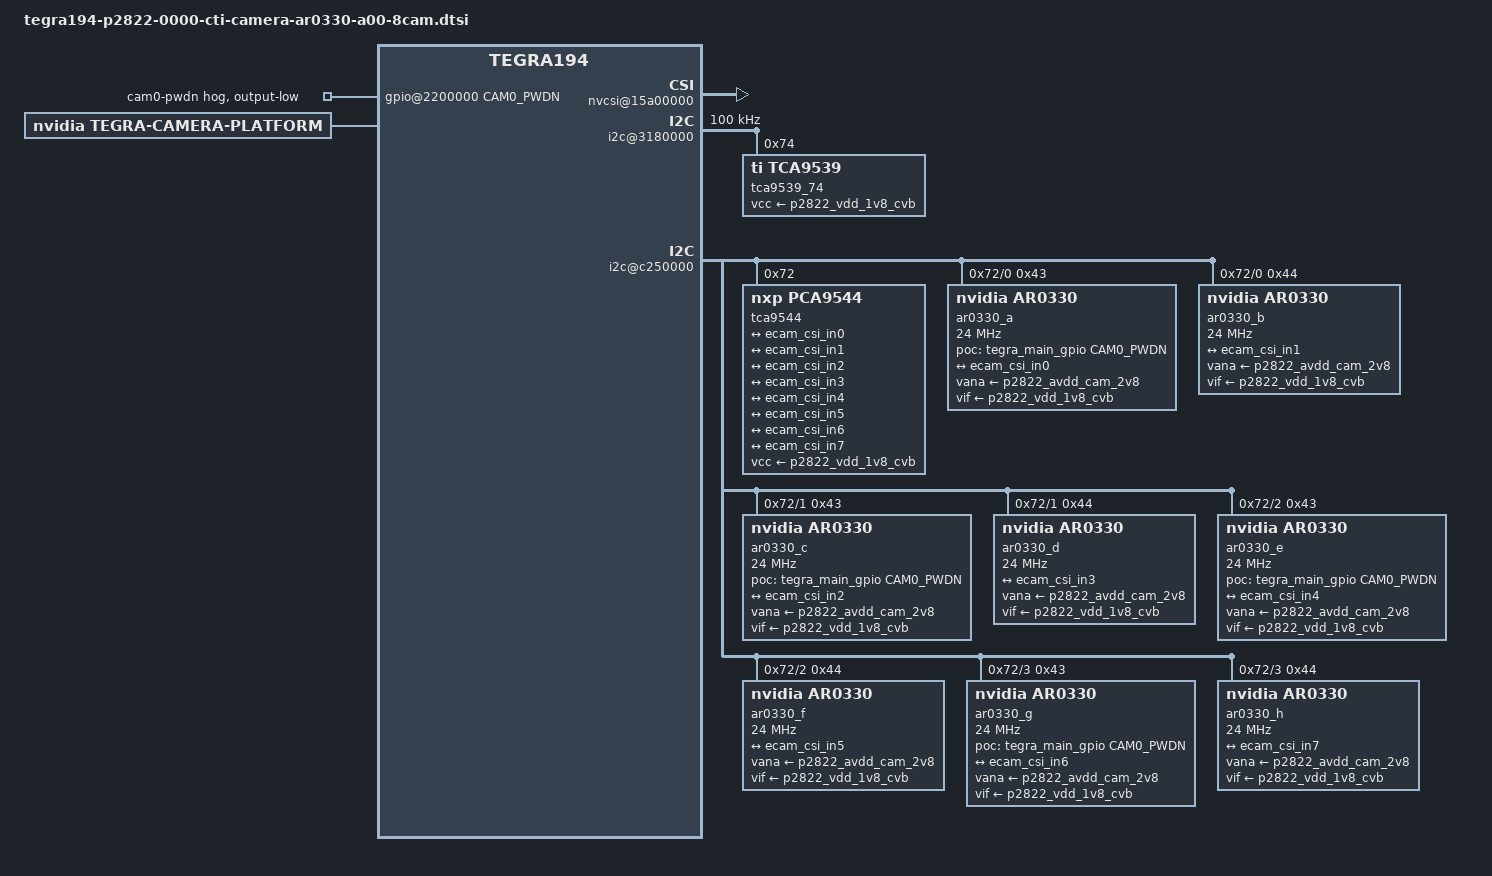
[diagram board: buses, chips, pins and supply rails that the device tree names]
/* Econ device tree for AR1335 support */
#include "dt-bindings/clock/tegra194-clock.h"
#define CAM0_PWDN	TEGRA194_MAIN_GPIO(H, 6)
/ {

	/* set camera gpio direction to output */
	gpio@2200000 {
		camera-control-output-low {
			gpio-hog;
			output-low;
			gpios = <CAM0_PWDN 0>;
			label = "cam0-pwdn";
		};
	};

	/* all cameras are disabled by default */
	host1x {
		vi@15c10000 {
			num-channels = <8>;
			status = "okay";
			ports {
				#address-cells = <1>;
				#size-cells = <0>;
				port@0 {
					reg = <0>;
					status = "okay";
					ecam_vi_in0: endpoint {
						 vc-id = <0>; 									 
						 port-index = <5>;
						 bus-width = <4>;
						 status = "okay";	
						 remote-endpoint = <&ecam_csi_out0>;
					 };
				};
				port@1 {
					reg = <1>;
					status = "okay";	
					ecam_vi_in1: endpoint {
						 vc-id = <1>; 									 
						 port-index = <5>;
						 bus-width = <4>;
						 status = "okay";	
						 remote-endpoint = <&ecam_csi_out1>;
					 };
				};

				port@2 {
					reg = <2>;
					status = "okay";
					ecam_vi_in2: endpoint {
						 vc-id = <0>; 									 
						 port-index = <4>;
						 bus-width = <4>;
						 status = "okay";	
						 remote-endpoint = <&ecam_csi_out2>;
					 };
				};
				port@3 {
					reg = <3>;
					status = "okay";	
					ecam_vi_in3: endpoint {
						 vc-id = <1>; 									 
						 port-index = <4>;
						 bus-width = <4>;
						 status = "okay";	
						 remote-endpoint = <&ecam_csi_out3>;
					 };
				};


				port@4 {
					reg = <4>;
					status = "okay";
					ecam_vi_in4: endpoint {
						 vc-id = <0>; 									 
						 port-index = <2>;
						 bus-width = <4>;
						 status = "okay";	
						 remote-endpoint = <&ecam_csi_out4>;
					 };
				};
				port@5 {
					reg = <5>;
					status = "okay";	
					ecam_vi_in5: endpoint {
						 vc-id = <1>; 									 
						 port-index = <2>;
						 bus-width = <4>;
						 status = "okay";	
						 remote-endpoint = <&ecam_csi_out5>;
					 };
				};


				port@6 {
					reg = <6>;
					status = "okay";
					ecam_vi_in6: endpoint {
						 vc-id = <0>; 									 
						 port-index = <0>;
						 bus-width = <4>;
						 status = "okay";	
						 remote-endpoint = <&ecam_csi_out6>;
					 };
				};
				port@7 {
					reg = <7>;
					status = "okay";	
					ecam_vi_in7: endpoint {
						 vc-id = <1>; 									 
						 port-index = <0>;
						 bus-width = <4>;
						 status = "okay";	
						 remote-endpoint = <&ecam_csi_out7>;
					 };
				};
				
				/*
				port@2 {
					reg = <2>;
					status = "okay";	
					ecam_vi_in2: endpoint {
						 port-index = <2>;
						 bus-width = <2>;
						 status = "okay";	
						 remote-endpoint = <&ecam_csi_out2>;
					 };
				};
				port@3 {
					reg = <3>;
					status = "okay";	
					ecam_vi_in3: endpoint {
						 port-index = <0>;
						 bus-width = <2>;
						 status = "okay";	
						 remote-endpoint = <&ecam_csi_out3>;
					 };
				};
				*/
			};
		};

		nvcsi@15a00000 {
			num-channels = <8>;
			#address-cells = <1>;
			#size-cells = <0>;
			status = "okay";	
			channel@0 {
				reg = <0>;
				status = "okay";	
				ports {
					#address-cells = <1>;
					#size-cells = <0>;
					port@0 {
						reg = <0>;
						status = "okay";	
						ecam_csi_in0: endpoint@0 {
							  port-index = <6>;
							  bus-width = <4>;
							  status = "okay";	
							  remote-endpoint = <&ecam_ar0330_out0>;
						  };
					};
					port@1 {
						reg = <1>;
						status = "okay";	
						ecam_csi_out0: endpoint@1 {
						   remote-endpoint = <&ecam_vi_in0>;
						   status = "okay";	
					   };
					};
				};
			};
			channel@1 {
				reg = <1>;
				status = "okay";	
				ports {
					#address-cells = <1>;
					#size-cells = <0>;
					port@0 {
						reg = <0>;
						status = "okay";	
						ecam_csi_in1: endpoint@2 {
							  port-index = <6>;
							  bus-width = <4>;
							  status = "okay";	
							  remote-endpoint = <&ecam_ar0330_out1>;
						};
					};
					port@1 {
						reg = <1>;
						status = "okay";	
						ecam_csi_out1: endpoint@3 {
							   remote-endpoint = <&ecam_vi_in1>;
							   status = "okay";	
					   };
					};
				};
			};

			channel@2 {
				reg = <2>;
				status = "okay";	
				ports {
					#address-cells = <1>;
					#size-cells = <0>;
					port@0 {
						reg = <0>;
						status = "okay";	
						ecam_csi_in2: endpoint@4 {
							  port-index = <4>;
							  bus-width = <4>;
							  status = "okay";	
							  remote-endpoint = <&ecam_ar0330_out2>;
						  };
					};
					port@1 {
						reg = <1>;
						status = "okay";	
						ecam_csi_out2: endpoint@5 {
						   remote-endpoint = <&ecam_vi_in2>;
						   status = "okay";	
					   };
					};
				};
			};
			channel@3 {
				reg = <3>;
				status = "okay";	
				ports {
					#address-cells = <1>;
					#size-cells = <0>;
					port@0 {
						reg = <0>;
						status = "okay";	
						ecam_csi_in3: endpoint@6 {
							  port-index = <4>;
							  bus-width = <4>;
							  status = "okay";	
							  remote-endpoint = <&ecam_ar0330_out3>;
						};
					};
					port@1 {
						reg = <1>;
						status = "okay";	
						ecam_csi_out3: endpoint@7 {
							   remote-endpoint = <&ecam_vi_in3>;
							   status = "okay";	
					   };
					};
				};
			};

			channel@4 {
				reg = <4>;
				status = "okay";	
				ports {
					#address-cells = <1>;
					#size-cells = <0>;
					port@0 {
						reg = <0>;
						status = "okay";	
						ecam_csi_in4: endpoint@8 {
							  port-index = <2>;
							  bus-width = <4>;
							  status = "okay";	
							  remote-endpoint = <&ecam_ar0330_out4>;
						  };
					};
					port@1 {
						reg = <1>;
						status = "okay";	
						ecam_csi_out4: endpoint@9 {
						   remote-endpoint = <&ecam_vi_in4>;
						   status = "okay";	
					   };
					};
				};
			};
			channel@5 {
				reg = <5>;
				status = "okay";	
				ports {
					#address-cells = <1>;
					#size-cells = <0>;
					port@0 {
						reg = <0>;
						status = "okay";	
						ecam_csi_in5: endpoint@10 {
							  port-index = <2>;
							  bus-width = <4>;
							  status = "okay";	
							  remote-endpoint = <&ecam_ar0330_out5>;
						};
					};
					port@1 {
						reg = <1>;
						status = "okay";	
						ecam_csi_out5: endpoint@11 {
							   remote-endpoint = <&ecam_vi_in5>;
							   status = "okay";	
					   };
					};
				};
			};

			channel@6 {
				reg = <6>;
				status = "okay";	
				ports {
					#address-cells = <1>;
					#size-cells = <0>;
					port@0 {
						reg = <0>;
						status = "okay";	
						ecam_csi_in6: endpoint@12 {
							  port-index = <0>;
							  bus-width = <4>;
							  status = "okay";	
							  remote-endpoint = <&ecam_ar0330_out6>;
						  };
					};
					port@1 {
						reg = <1>;
						status = "okay";	
						ecam_csi_out6: endpoint@13 {
						   remote-endpoint = <&ecam_vi_in6>;
						   status = "okay";	
					   };
					};
				};
			};
			channel@7 {
				reg = <7>;
				status = "okay";	
				ports {
					#address-cells = <1>;
					#size-cells = <0>;
					port@0 {
						reg = <0>;
						status = "okay";	
						ecam_csi_in7: endpoint@14 {
							  port-index = <0>;
							  bus-width = <4>;
							  status = "okay";	
							  remote-endpoint = <&ecam_ar0330_out7>;
						};
					};
					port@1 {
						reg = <1>;
						status = "okay";	
						ecam_csi_out7: endpoint@15 {
							   remote-endpoint = <&ecam_vi_in7>;
							   status = "okay";	
					   };
					};
				};
			};			

		};
	};
	i2c@3180000 {
		clock-frequency = <100000>;
		tca9539_74: tca9539@74 {
			compatible = "ti,tca9539";
			gpio-controller;
			#gpio-cells = <2>;
			reg = <0x74>;
            vcc-supply = <&p2822_vdd_1v8_cvb>;
			status = "okay";
			tca9539_74_outlow {
				/*
				 * GPIO-0  : RST_CAMA
				 * GPIO-1  : BOOT_CAMA
				 * GPIO-2  : RST_CAMB
				 * GPIO-3  : BOOT_CAMB
				 * GPIO-4  : RST_CAMC
				 * GPIO-5  : BOOT_CAMC
				 * GPIO-6  : RST_CAMD
				 * GPIO-7  : BOOT_CAMD
				 */
				gpio-hog;
				gpios = <0 0 1 0 2 0 3 0 4 0 5 0 6 0 7 0 8 0 9 0 10 0 11 0 12 0 13 0>;
				output-low;
				label = "tca9539_74_outlow_0",
					"tca9539_74_outlow_1",
					"tca9539_74_outlow_2",
					"tca9539_74_outlow_3",
					"tca9539_74_outlow_4",
					"tca9539_74_outlow_5",
					"tca9539_74_outlow_6",
					"tca9539_74_outlow_7",
					"tca9539_74_outlow_8",
					"tca9539_74_outlow_9",
					"tca9539_74_outlow_10",
					"tca9539_74_outlow_11",
					"tca9539_74_outlow_12",
					"tca9539_74_outlow_13";
			};
			tca9539_74_outhigh {
				status= "disabled";
			};
			tca9539_74_input {
				status = "disabled";
			};
		};
	};

	i2c@c250000 {
		status = "okay";
		#address-cells = <1>;
		#size-cells = <0>;
		tca9544@72 {
            compatible = "nxp,pca9544";
            reg = <0x72>;
            #address-cells = <1>;
            #size-cells = <0>;
            vcc-supply = <&p2822_vdd_1v8_cvb>;
            skip_mux_detect;
            force_bus_start = <0x1e>;
			i2c@0 {
	            reg = <0>;
    	   	    i2c-mux,deselect-on-exit;
        	    #address-cells = <1>;
             	#size-cells = <0>;
	            status = "okay";

				ar0330_a@43 {
					status = "okay";
					compatible = "nvidia,ar0330";
					reg = <0x43>;
					sensor_model ="ar0330";
					avdd-reg = "vana";
					iovdd-reg = "vif";
					clocks = <&bpmp_clks  TEGRA194_CLK_EXTPERIPH1>,
							 <&bpmp_clks TEGRA194_CLK_PLLP_OUT0>;
					clock-names = "extperiph1", "pllp_grtba";
					mclk = "extperiph1";
					clock-frequency = <24000000>;
					/* This GPIO needs to be toggled only once for the entire setup */
					poc-gpio = <&tegra_main_gpio CAM0_PWDN GPIO_ACTIVE_HIGH>;
					vana-supply = <&p2822_avdd_cam_2v8>;
					vif-supply = <&p2822_vdd_1v8_cvb>;
					use_sensor_mode_id = "false";
					camera_mipi_lanes = <2>;	

					/* Parameter to denote PHY layer */
					phy-id = "A";					
					mode0 {		// MODE_640X480
						mclk_khz = "24000";
						num_lanes = "2";
						tegra_sinterface = "serial_a";
						phy_mode = "DPHY";
						discontinuous_clk = "no";
						dpcm_enable = "false";
						cil_settletime = "0";
						dynamic_pixel_bit_depth = "16";
						csi_pixel_bit_depth = "16";
						mode_type = "yuv";
						pixel_phase = "uyvy";
						pixel_t = "uyvy";

						active_w = "1280";
						active_h = "720";
						readout_orientation = "0";
						deskew_initial_enable = "false";
						pix_clk_hz = "1152000000";
						/* Below mode parameter not used for econ UYVY camera sensor */ 
						line_length = "3840";
						inherent_gain = "1";
						mclk_multiplier = "6.67";

						min_gain_val = "0"; /* dB */
						max_gain_val = "48"; /* dB */
						min_hdr_ratio = "1";
						max_hdr_ratio = "1";
						min_framerate = "1.5";
						max_framerate = "30";
						min_exp_time = "30";
						max_exp_time = "660000";
					};
					mode1 {		// MODE_1280X720
						mclk_khz = "24000";
						num_lanes = "2";
						tegra_sinterface = "serial_a";
						phy_mode = "DPHY";
						discontinuous_clk = "no";
						dpcm_enable = "false";
						cil_settletime = "0";
						dynamic_pixel_bit_depth = "16";
						csi_pixel_bit_depth = "16";
						mode_type = "yuv";
						pixel_phase = "uyvy";
						pixel_t = "uyvy";

						active_w = "1280";
						active_h = "720";
						readout_orientation = "0";
						deskew_initial_enable = "false";
						pix_clk_hz = "1152000000";
						/* Below mode parameter not used for econ UYVY camera sensor */ 
						line_length = "3840";
						inherent_gain = "1";
						mclk_multiplier = "6.67";

						min_gain_val = "0"; /* dB */
						max_gain_val = "48"; /* dB */
						min_hdr_ratio = "1";
						max_hdr_ratio = "1";
						min_framerate = "1.5";
						max_framerate = "30";
						min_exp_time = "30";
						max_exp_time = "660000";
					};
					mode2 {		// MODE_1920X1080
						mclk_khz = "24000";
						num_lanes = "2";
						tegra_sinterface = "serial_a";
						phy_mode = "DPHY";
						discontinuous_clk = "no";
						dpcm_enable = "false";
						cil_settletime = "0";
						dynamic_pixel_bit_depth = "16";
						csi_pixel_bit_depth = "16";
						mode_type = "yuv";
						pixel_phase = "uyvy";
						pixel_t = "uyvy";

						active_w = "1920";
						active_h = "1080";
						readout_orientation = "0";
						deskew_initial_enable = "false";
						pix_clk_hz = "1152000000";
						/* Below mode parameter not used for econ UYVY camera sensor */ 
						line_length = "3840";
						inherent_gain = "1";
						mclk_multiplier = "6.67";

						min_gain_val = "0"; /* dB */
						max_gain_val = "48"; /* dB */
						min_hdr_ratio = "1";
						max_hdr_ratio = "1";
						min_framerate = "1.5";
						max_framerate = "30";
						min_exp_time = "30";
						max_exp_time = "660000";
					};
					mode3 {		// MODE_2304X1296
						mclk_khz = "24000";
						num_lanes = "2";
						tegra_sinterface = "serial_a";
						phy_mode = "DPHY";
						discontinuous_clk = "no";
						dpcm_enable = "false";
						cil_settletime = "0";
						dynamic_pixel_bit_depth = "16";
						csi_pixel_bit_depth = "16";
						mode_type = "yuv";
						pixel_phase = "uyvy";
						pixel_t = "uyvy";

						active_w = "2304";
						active_h = "1296";
						readout_orientation = "0";
						deskew_initial_enable = "false";
						pix_clk_hz = "1152000000";
						/* Below mode parameter not used for econ UYVY camera sensor */ 
						line_length = "3840";
						inherent_gain = "1";
						mclk_multiplier = "6.67";

						min_gain_val = "0"; /* dB */
						max_gain_val = "48"; /* dB */
						min_hdr_ratio = "1";
						max_hdr_ratio = "1";
						min_framerate = "1.5";
						max_framerate = "30";
						min_exp_time = "30";
						max_exp_time = "660000";
					};
					mode4 {		// MODE_2304X1536
						mclk_khz = "24000";
						num_lanes = "2";
						tegra_sinterface = "serial_a";
						phy_mode = "DPHY";
						discontinuous_clk = "no";
						dpcm_enable = "false";
						cil_settletime = "0";
						dynamic_pixel_bit_depth = "16";
						csi_pixel_bit_depth = "16";
						mode_type = "yuv";
						pixel_phase = "uyvy";
						pixel_t = "uyvy";

						active_w = "2304";
						active_h = "1536";
						readout_orientation = "0";
						deskew_initial_enable = "false";
						pix_clk_hz = "1152000000";
						/* Below mode parameter not used for econ UYVY camera sensor */ 
						line_length = "3840";
						inherent_gain = "1";
						mclk_multiplier = "6.67";

						min_gain_val = "0"; /* dB */
						max_gain_val = "48"; /* dB */
						min_hdr_ratio = "1";
						max_hdr_ratio = "1";
						min_framerate = "1.5";
						max_framerate = "30";
						min_exp_time = "30";
						max_exp_time = "660000";
					};
					ports {
						#address-cells = <1>;
						#size-cells = <0>;
						port@0 {
							reg = <0>;
							ecam_ar0330_out0: endpoint {
								vc-id = <0>;		 
								port-index = <6>;
								bus-width = <4>;
								remote-endpoint = <&ecam_csi_in0>;
							};
						};
					};
				};

               ar0330_b@44 {
                        status = "okay";
                        compatible = "nvidia,ar0330";
                        reg = <0x44>;
                        sensor_model ="ar0330";
                        avdd-reg = "vana";
                        iovdd-reg = "vif";
						clocks = <&bpmp_clks  TEGRA194_CLK_EXTPERIPH1>,
				 		<&bpmp_clks TEGRA194_CLK_PLLP_OUT0>;
                        clock-names = "extperiph1", "pllp_grtba";
                        mclk = "extperiph1";
                        clock-frequency = <24000000>;
						vana-supply = <&p2822_avdd_cam_2v8>;
						vif-supply = <&p2822_vdd_1v8_cvb>;
						use_sensor_mode_id = "false";
						camera_mipi_lanes = <2>;	

					/* Parameter to enable i2c translation */
					phy-id = "B";						
					mode0 {     //MODE_640X480
     					mclk_khz = "24000";
     					num_lanes = "2";
     					tegra_sinterface = "serial_b";
     					phy_mode = "DPHY";
     					discontinuous_clk = "no";
     					dpcm_enable = "false";
     					cil_settletime = "0";
     					dynamic_pixel_bit_depth = "16";
     					csi_pixel_bit_depth = "16";
     					mode_type = "yuv";
     					pixel_phase = "uyvy";
     					pixel_t = "uyvy";
     
     					active_w = "640";
     					active_h = "480";
     					readout_orientation = "0";
     					pix_clk_hz = "1152000000";
     					deskew_initial_enable = "false";
     					/* Below mode parameter not used in for econ UYVY camera sensor */ 
     					line_length = "3840";
     					inherent_gain = "1";
     					mclk_multiplier = "6.67";
     
     					min_gain_val = "0"; /* dB */
     					max_gain_val = "48"; /* dB */
     					min_hdr_ratio = "1";
     					max_hdr_ratio = "1";
     					min_framerate = "1.5";
     					max_framerate = "30";
     					min_exp_time = "30";
     					max_exp_time = "660000";
				    };
				mode1 {     //MODE_1280X720
					mclk_khz = "24000";
					num_lanes = "2";
					tegra_sinterface = "serial_b";
					phy_mode = "DPHY";
					discontinuous_clk = "no";
					dpcm_enable = "false";
					cil_settletime = "0";
					dynamic_pixel_bit_depth = "16";
					csi_pixel_bit_depth = "16";
					mode_type = "yuv";
					pixel_phase = "uyvy";
					pixel_t = "uyvy";

					active_w = "1280";
					active_h = "720";
					readout_orientation = "0";
					pix_clk_hz = "1152000000";
					deskew_initial_enable = "false";
					/* Below mode parameter not used in for econ UYVY camera sensor */ 
					line_length = "3840";
					inherent_gain = "1";
					mclk_multiplier = "6.67";

					min_gain_val = "0"; /* dB */
					max_gain_val = "48"; /* dB */
					min_hdr_ratio = "1";
					max_hdr_ratio = "1";
					min_framerate = "1.5";
					max_framerate = "30";
					min_exp_time = "30";
					max_exp_time = "660000";
				};
				mode2 {     //MODE_1920X1080
					mclk_khz = "24000";
					num_lanes = "2";
					tegra_sinterface = "serial_b";
					phy_mode = "DPHY";
					discontinuous_clk = "no";
					dpcm_enable = "false";
					cil_settletime = "0";
					dynamic_pixel_bit_depth = "16";
					csi_pixel_bit_depth = "16";
					mode_type = "yuv";
					pixel_phase = "uyvy";
					pixel_t = "uyvy";

					active_w = "1920";
					active_h = "1080";
					readout_orientation = "0";
					pix_clk_hz = "1152000000";
					deskew_initial_enable = "false";
					/* Below mode parameter not used in for econ UYVY camera sensor */ 
					line_length = "3840";
					inherent_gain = "1";
					mclk_multiplier = "6.67";

					min_gain_val = "0"; /* dB */
					max_gain_val = "48"; /* dB */
					min_hdr_ratio = "1";
					max_hdr_ratio = "1";
					min_framerate = "1.5";
					max_framerate = "30";
					min_exp_time = "30";
					max_exp_time = "660000";
				};
				mode3 {     //MODE_2304X1296
					mclk_khz = "24000";
					num_lanes = "2";
					tegra_sinterface = "serial_b";
					phy_mode = "DPHY";
					discontinuous_clk = "no";
					dpcm_enable = "false";
					cil_settletime = "0";
					dynamic_pixel_bit_depth = "16";
					csi_pixel_bit_depth = "16";
					mode_type = "yuv";
					pixel_phase = "uyvy";
					pixel_t = "uyvy";

					active_w = "2304";
					active_h = "1296";
					readout_orientation = "0";
					pix_clk_hz = "1152000000";
					deskew_initial_enable = "false";
					/* Below mode parameter not used in for econ UYVY camera sensor */ 
					line_length = "3840";
					inherent_gain = "1";
					mclk_multiplier = "6.67";

					min_gain_val = "0"; /* dB */
					max_gain_val = "48"; /* dB */
					min_hdr_ratio = "1";
					max_hdr_ratio = "1";
					min_framerate = "1.5";
					max_framerate = "30";
					min_exp_time = "30";
					max_exp_time = "660000";
				};
				mode4 {     //MODE_2304X1536
					mclk_khz = "24000";
					num_lanes = "2";
					tegra_sinterface = "serial_b";
					phy_mode = "DPHY";
					discontinuous_clk = "no";
					dpcm_enable = "false";
					cil_settletime = "0";
					dynamic_pixel_bit_depth = "16";
					csi_pixel_bit_depth = "16";
					mode_type = "yuv";
					pixel_phase = "uyvy";
					pixel_t = "uyvy";

					active_w = "2304";
					active_h = "1536";
					pix_clk_hz = "1152000000";
                                                readout_orientation = "0";
					deskew_initial_enable = "false";
					/* Below mode parameter not used in for econ UYVY camera sensor */ 
					line_length = "3840";
					inherent_gain = "1";
					mclk_multiplier = "6.67";

					min_gain_val = "0"; /* dB */
					max_gain_val = "48"; /* dB */
					min_hdr_ratio = "1";
					max_hdr_ratio = "1";
					min_framerate = "1.5";
					max_framerate = "30";
					min_exp_time = "30";
					max_exp_time = "660000";
				};

               		ports {
   	    	               #address-cells = <1>;
    	                   #size-cells = <0>;
            	           port@0 {
                               reg = <0>;
                               ecam_ar0330_out1: endpoint {
							   vc-id = <1>;		 
                                       port-index = <6>;
                                       bus-width = <4>;
                                       remote-endpoint = <&ecam_csi_in1>;
                               };
                    	   };
              		 	};
       				};				
			};

            i2c@1{
                    status = "okay";
                    reg = <1>;
                    i2c-mux,deselect-on-exit;
                    #address-cells = <1>;
                    #size-cells = <0>;
				ar0330_c@43 {
					status = "okay";
					compatible = "nvidia,ar0330";
					reg = <0x43>;
					sensor_model ="ar0330";
					avdd-reg = "vana";
					iovdd-reg = "vif";
					clocks = <&bpmp_clks  TEGRA194_CLK_EXTPERIPH1>,
							 <&bpmp_clks TEGRA194_CLK_PLLP_OUT0>;
					clock-names = "extperiph1", "pllp_grtba";
					mclk = "extperiph1";
					clock-frequency = <24000000>;
					/* This GPIO needs to be toggled only once for the entire setup */
					poc-gpio = <&tegra_main_gpio CAM0_PWDN GPIO_ACTIVE_HIGH>;
					vana-supply = <&p2822_avdd_cam_2v8>;
					vif-supply = <&p2822_vdd_1v8_cvb>;
					use_sensor_mode_id = "false";
					camera_mipi_lanes = <2>;	

					/* Parameter to denote PHY layer */
					phy-id = "A";					
					mode0 {		// MODE_640X480
						mclk_khz = "24000";
						num_lanes = "2";
						tegra_sinterface = "serial_a";
						phy_mode = "DPHY";
						discontinuous_clk = "no";
						dpcm_enable = "false";
						cil_settletime = "0";
						dynamic_pixel_bit_depth = "16";
						csi_pixel_bit_depth = "16";
						mode_type = "yuv";
						pixel_phase = "uyvy";
						pixel_t = "uyvy";

						active_w = "1280";
						active_h = "720";
						readout_orientation = "0";
						deskew_initial_enable = "false";
						pix_clk_hz = "1152000000";
						/* Below mode parameter not used for econ UYVY camera sensor */ 
						line_length = "3840";
						inherent_gain = "1";
						mclk_multiplier = "6.67";

						min_gain_val = "0"; /* dB */
						max_gain_val = "48"; /* dB */
						min_hdr_ratio = "1";
						max_hdr_ratio = "1";
						min_framerate = "1.5";
						max_framerate = "30";
						min_exp_time = "30";
						max_exp_time = "660000";
					};
					mode1 {		// MODE_1280X720
						mclk_khz = "24000";
						num_lanes = "2";
						tegra_sinterface = "serial_a";
						phy_mode = "DPHY";
						discontinuous_clk = "no";
						dpcm_enable = "false";
						cil_settletime = "0";
						dynamic_pixel_bit_depth = "16";
						csi_pixel_bit_depth = "16";
						mode_type = "yuv";
						pixel_phase = "uyvy";
						pixel_t = "uyvy";

						active_w = "1280";
						active_h = "720";
						readout_orientation = "0";
						deskew_initial_enable = "false";
						pix_clk_hz = "1152000000";
						/* Below mode parameter not used for econ UYVY camera sensor */ 
						line_length = "3840";
						inherent_gain = "1";
						mclk_multiplier = "6.67";

						min_gain_val = "0"; /* dB */
						max_gain_val = "48"; /* dB */
						min_hdr_ratio = "1";
						max_hdr_ratio = "1";
						min_framerate = "1.5";
						max_framerate = "30";
						min_exp_time = "30";
						max_exp_time = "660000";
					};
					mode2 {		// MODE_1920X1080
						mclk_khz = "24000";
						num_lanes = "2";
						tegra_sinterface = "serial_a";
						phy_mode = "DPHY";
						discontinuous_clk = "no";
						dpcm_enable = "false";
						cil_settletime = "0";
						dynamic_pixel_bit_depth = "16";
						csi_pixel_bit_depth = "16";
						mode_type = "yuv";
						pixel_phase = "uyvy";
						pixel_t = "uyvy";

						active_w = "1920";
						active_h = "1080";
						readout_orientation = "0";
						deskew_initial_enable = "false";
						pix_clk_hz = "1152000000";
						/* Below mode parameter not used for econ UYVY camera sensor */ 
						line_length = "3840";
						inherent_gain = "1";
						mclk_multiplier = "6.67";

						min_gain_val = "0"; /* dB */
						max_gain_val = "48"; /* dB */
						min_hdr_ratio = "1";
						max_hdr_ratio = "1";
						min_framerate = "1.5";
						max_framerate = "30";
						min_exp_time = "30";
						max_exp_time = "660000";
					};
					mode3 {		// MODE_2304X1296
						mclk_khz = "24000";
						num_lanes = "2";
						tegra_sinterface = "serial_a";
						phy_mode = "DPHY";
						discontinuous_clk = "no";
						dpcm_enable = "false";
						cil_settletime = "0";
						dynamic_pixel_bit_depth = "16";
						csi_pixel_bit_depth = "16";
						mode_type = "yuv";
						pixel_phase = "uyvy";
						pixel_t = "uyvy";

						active_w = "2304";
						active_h = "1296";
						readout_orientation = "0";
						deskew_initial_enable = "false";
						pix_clk_hz = "1152000000";
						/* Below mode parameter not used for econ UYVY camera sensor */ 
						line_length = "3840";
						inherent_gain = "1";
						mclk_multiplier = "6.67";

						min_gain_val = "0"; /* dB */
						max_gain_val = "48"; /* dB */
						min_hdr_ratio = "1";
						max_hdr_ratio = "1";
						min_framerate = "1.5";
						max_framerate = "30";
						min_exp_time = "30";
						max_exp_time = "660000";
					};
					mode4 {		// MODE_2304X1536
						mclk_khz = "24000";
						num_lanes = "2";
						tegra_sinterface = "serial_a";
						phy_mode = "DPHY";
						discontinuous_clk = "no";
						dpcm_enable = "false";
						cil_settletime = "0";
						dynamic_pixel_bit_depth = "16";
						csi_pixel_bit_depth = "16";
						mode_type = "yuv";
						pixel_phase = "uyvy";
						pixel_t = "uyvy";

						active_w = "2304";
						active_h = "1536";
						readout_orientation = "0";
						deskew_initial_enable = "false";
						pix_clk_hz = "1152000000";
						/* Below mode parameter not used for econ UYVY camera sensor */ 
						line_length = "3840";
						inherent_gain = "1";
						mclk_multiplier = "6.67";

						min_gain_val = "0"; /* dB */
						max_gain_val = "48"; /* dB */
						min_hdr_ratio = "1";
						max_hdr_ratio = "1";
						min_framerate = "1.5";
						max_framerate = "30";
						min_exp_time = "30";
						max_exp_time = "660000";
					};
					ports {
						#address-cells = <1>;
						#size-cells = <0>;
						port@0 {
							reg = <0>;
							ecam_ar0330_out2: endpoint {
								vc-id = <0>;		 
								port-index = <4>;
								bus-width = <4>;
								remote-endpoint = <&ecam_csi_in2>;
							};
						};
					};
				};

               ar0330_d@44 {
                        status = "okay";
                        compatible = "nvidia,ar0330";
                        reg = <0x44>;
                        sensor_model ="ar0330";
                        avdd-reg = "vana";
                        iovdd-reg = "vif";
						clocks = <&bpmp_clks  TEGRA194_CLK_EXTPERIPH1>,
				 		<&bpmp_clks TEGRA194_CLK_PLLP_OUT0>;
                        clock-names = "extperiph1", "pllp_grtba";
                        mclk = "extperiph1";
                        clock-frequency = <24000000>;
						vana-supply = <&p2822_avdd_cam_2v8>;
						vif-supply = <&p2822_vdd_1v8_cvb>;
						use_sensor_mode_id = "false";
						camera_mipi_lanes = <2>;	

					/* Parameter to enable i2c translation */
					phy-id = "B";						
					mode0 {     //MODE_640X480
     					mclk_khz = "24000";
     					num_lanes = "2";
     					tegra_sinterface = "serial_b";
     					phy_mode = "DPHY";
     					discontinuous_clk = "no";
     					dpcm_enable = "false";
     					cil_settletime = "0";
     					dynamic_pixel_bit_depth = "16";
     					csi_pixel_bit_depth = "16";
     					mode_type = "yuv";
     					pixel_phase = "uyvy";
     					pixel_t = "uyvy";
     
     					active_w = "640";
     					active_h = "480";
     					readout_orientation = "0";
     					pix_clk_hz = "1152000000";
     					deskew_initial_enable = "false";
     					/* Below mode parameter not used in for econ UYVY camera sensor */ 
     					line_length = "3840";
     					inherent_gain = "1";
     					mclk_multiplier = "6.67";
     
     					min_gain_val = "0"; /* dB */
     					max_gain_val = "48"; /* dB */
     					min_hdr_ratio = "1";
     					max_hdr_ratio = "1";
     					min_framerate = "1.5";
     					max_framerate = "30";
     					min_exp_time = "30";
     					max_exp_time = "660000";
				    };
				mode1 {     //MODE_1280X720
					mclk_khz = "24000";
					num_lanes = "2";
					tegra_sinterface = "serial_b";
					phy_mode = "DPHY";
					discontinuous_clk = "no";
					dpcm_enable = "false";
					cil_settletime = "0";
					dynamic_pixel_bit_depth = "16";
					csi_pixel_bit_depth = "16";
					mode_type = "yuv";
					pixel_phase = "uyvy";
					pixel_t = "uyvy";

					active_w = "1280";
					active_h = "720";
					readout_orientation = "0";
					pix_clk_hz = "1152000000";
					deskew_initial_enable = "false";
					/* Below mode parameter not used in for econ UYVY camera sensor */ 
					line_length = "3840";
					inherent_gain = "1";
					mclk_multiplier = "6.67";

					min_gain_val = "0"; /* dB */
					max_gain_val = "48"; /* dB */
					min_hdr_ratio = "1";
					max_hdr_ratio = "1";
					min_framerate = "1.5";
					max_framerate = "30";
					min_exp_time = "30";
					max_exp_time = "660000";
				};
				mode2 {     //MODE_1920X1080
					mclk_khz = "24000";
					num_lanes = "2";
					tegra_sinterface = "serial_b";
					phy_mode = "DPHY";
					discontinuous_clk = "no";
					dpcm_enable = "false";
					cil_settletime = "0";
					dynamic_pixel_bit_depth = "16";
					csi_pixel_bit_depth = "16";
					mode_type = "yuv";
					pixel_phase = "uyvy";
					pixel_t = "uyvy";

					active_w = "1920";
					active_h = "1080";
					readout_orientation = "0";
					pix_clk_hz = "1152000000";
					deskew_initial_enable = "false";
					/* Below mode parameter not used in for econ UYVY camera sensor */ 
					line_length = "3840";
					inherent_gain = "1";
					mclk_multiplier = "6.67";

					min_gain_val = "0"; /* dB */
					max_gain_val = "48"; /* dB */
					min_hdr_ratio = "1";
					max_hdr_ratio = "1";
					min_framerate = "1.5";
					max_framerate = "30";
					min_exp_time = "30";
					max_exp_time = "660000";
				};
				mode3 {     //MODE_2304X1296
					mclk_khz = "24000";
					num_lanes = "2";
					tegra_sinterface = "serial_b";
					phy_mode = "DPHY";
					discontinuous_clk = "no";
					dpcm_enable = "false";
					cil_settletime = "0";
					dynamic_pixel_bit_depth = "16";
					csi_pixel_bit_depth = "16";
					mode_type = "yuv";
					pixel_phase = "uyvy";
					pixel_t = "uyvy";

					active_w = "2304";
					active_h = "1296";
					readout_orientation = "0";
					pix_clk_hz = "1152000000";
					deskew_initial_enable = "false";
					/* Below mode parameter not used in for econ UYVY camera sensor */ 
					line_length = "3840";
					inherent_gain = "1";
					mclk_multiplier = "6.67";

					min_gain_val = "0"; /* dB */
					max_gain_val = "48"; /* dB */
					min_hdr_ratio = "1";
					max_hdr_ratio = "1";
					min_framerate = "1.5";
					max_framerate = "30";
					min_exp_time = "30";
					max_exp_time = "660000";
				};
				mode4 {     //MODE_2304X1536
					mclk_khz = "24000";
					num_lanes = "2";
					tegra_sinterface = "serial_b";
					phy_mode = "DPHY";
					discontinuous_clk = "no";
					dpcm_enable = "false";
					cil_settletime = "0";
					dynamic_pixel_bit_depth = "16";
					csi_pixel_bit_depth = "16";
					mode_type = "yuv";
					pixel_phase = "uyvy";
					pixel_t = "uyvy";

					active_w = "2304";
					active_h = "1536";
					pix_clk_hz = "1152000000";
                                                readout_orientation = "0";
					deskew_initial_enable = "false";
					/* Below mode parameter not used in for econ UYVY camera sensor */ 
					line_length = "3840";
					inherent_gain = "1";
					mclk_multiplier = "6.67";

					min_gain_val = "0"; /* dB */
					max_gain_val = "48"; /* dB */
					min_hdr_ratio = "1";
					max_hdr_ratio = "1";
					min_framerate = "1.5";
					max_framerate = "30";
					min_exp_time = "30";
					max_exp_time = "660000";
				};

               		ports {
   	    	               #address-cells = <1>;
    	                   #size-cells = <0>;
            	           port@0 {
                               reg = <0>;
                               ecam_ar0330_out3: endpoint {
							   vc-id = <1>;		 
                                       port-index = <4>;
                                       bus-width = <4>;
                                       remote-endpoint = <&ecam_csi_in3>;
                               };
                    	   };
              		 	};
       				};									
          		};

			i2c@2{
                        status = "okay";
                        reg = <2>;
                        i2c-mux,deselect-on-exit;
                        #address-cells = <1>;
                        #size-cells = <0>;
				ar0330_e@43 {
					status = "okay";
					compatible = "nvidia,ar0330";
					reg = <0x43>;
					sensor_model ="ar0330";
					avdd-reg = "vana";
					iovdd-reg = "vif";
					clocks = <&bpmp_clks  TEGRA194_CLK_EXTPERIPH1>,
							 <&bpmp_clks TEGRA194_CLK_PLLP_OUT0>;
					clock-names = "extperiph1", "pllp_grtba";
					mclk = "extperiph1";
					clock-frequency = <24000000>;
					/* This GPIO needs to be toggled only once for the entire setup */
					poc-gpio = <&tegra_main_gpio CAM0_PWDN GPIO_ACTIVE_HIGH>;
					vana-supply = <&p2822_avdd_cam_2v8>;
					vif-supply = <&p2822_vdd_1v8_cvb>;
					use_sensor_mode_id = "false";
					camera_mipi_lanes = <2>;	

					/* Parameter to denote PHY layer */
					phy-id = "A";					
					mode0 {		// MODE_640X480
						mclk_khz = "24000";
						num_lanes = "2";
						tegra_sinterface = "serial_a";
						phy_mode = "DPHY";
						discontinuous_clk = "no";
						dpcm_enable = "false";
						cil_settletime = "0";
						dynamic_pixel_bit_depth = "16";
						csi_pixel_bit_depth = "16";
						mode_type = "yuv";
						pixel_phase = "uyvy";
						pixel_t = "uyvy";

						active_w = "1280";
						active_h = "720";
						readout_orientation = "0";
						deskew_initial_enable = "false";
						pix_clk_hz = "1152000000";
						/* Below mode parameter not used for econ UYVY camera sensor */ 
						line_length = "3840";
						inherent_gain = "1";
						mclk_multiplier = "6.67";

						min_gain_val = "0"; /* dB */
						max_gain_val = "48"; /* dB */
						min_hdr_ratio = "1";
						max_hdr_ratio = "1";
						min_framerate = "1.5";
						max_framerate = "30";
						min_exp_time = "30";
						max_exp_time = "660000";
					};
					mode1 {		// MODE_1280X720
						mclk_khz = "24000";
						num_lanes = "2";
						tegra_sinterface = "serial_a";
						phy_mode = "DPHY";
						discontinuous_clk = "no";
						dpcm_enable = "false";
						cil_settletime = "0";
						dynamic_pixel_bit_depth = "16";
						csi_pixel_bit_depth = "16";
						mode_type = "yuv";
						pixel_phase = "uyvy";
						pixel_t = "uyvy";

						active_w = "1280";
						active_h = "720";
						readout_orientation = "0";
						deskew_initial_enable = "false";
						pix_clk_hz = "1152000000";
						/* Below mode parameter not used for econ UYVY camera sensor */ 
						line_length = "3840";
						inherent_gain = "1";
						mclk_multiplier = "6.67";

						min_gain_val = "0"; /* dB */
						max_gain_val = "48"; /* dB */
						min_hdr_ratio = "1";
						max_hdr_ratio = "1";
						min_framerate = "1.5";
						max_framerate = "30";
						min_exp_time = "30";
						max_exp_time = "660000";
					};
					mode2 {		// MODE_1920X1080
						mclk_khz = "24000";
						num_lanes = "2";
						tegra_sinterface = "serial_a";
						phy_mode = "DPHY";
						discontinuous_clk = "no";
						dpcm_enable = "false";
						cil_settletime = "0";
						dynamic_pixel_bit_depth = "16";
						csi_pixel_bit_depth = "16";
						mode_type = "yuv";
						pixel_phase = "uyvy";
						pixel_t = "uyvy";

						active_w = "1920";
						active_h = "1080";
						readout_orientation = "0";
						deskew_initial_enable = "false";
						pix_clk_hz = "1152000000";
						/* Below mode parameter not used for econ UYVY camera sensor */ 
						line_length = "3840";
						inherent_gain = "1";
						mclk_multiplier = "6.67";

						min_gain_val = "0"; /* dB */
						max_gain_val = "48"; /* dB */
						min_hdr_ratio = "1";
						max_hdr_ratio = "1";
						min_framerate = "1.5";
						max_framerate = "30";
						min_exp_time = "30";
						max_exp_time = "660000";
					};
					mode3 {		// MODE_2304X1296
						mclk_khz = "24000";
						num_lanes = "2";
						tegra_sinterface = "serial_a";
						phy_mode = "DPHY";
						discontinuous_clk = "no";
						dpcm_enable = "false";
						cil_settletime = "0";
						dynamic_pixel_bit_depth = "16";
						csi_pixel_bit_depth = "16";
						mode_type = "yuv";
						pixel_phase = "uyvy";
						pixel_t = "uyvy";

						active_w = "2304";
						active_h = "1296";
						readout_orientation = "0";
						deskew_initial_enable = "false";
						pix_clk_hz = "1152000000";
						/* Below mode parameter not used for econ UYVY camera sensor */ 
						line_length = "3840";
						inherent_gain = "1";
						mclk_multiplier = "6.67";

						min_gain_val = "0"; /* dB */
						max_gain_val = "48"; /* dB */
						min_hdr_ratio = "1";
						max_hdr_ratio = "1";
						min_framerate = "1.5";
						max_framerate = "30";
						min_exp_time = "30";
						max_exp_time = "660000";
					};
					mode4 {		// MODE_2304X1536
						mclk_khz = "24000";
						num_lanes = "2";
						tegra_sinterface = "serial_a";
						phy_mode = "DPHY";
						discontinuous_clk = "no";
						dpcm_enable = "false";
						cil_settletime = "0";
						dynamic_pixel_bit_depth = "16";
						csi_pixel_bit_depth = "16";
						mode_type = "yuv";
						pixel_phase = "uyvy";
						pixel_t = "uyvy";

						active_w = "2304";
						active_h = "1536";
						readout_orientation = "0";
						deskew_initial_enable = "false";
						pix_clk_hz = "1152000000";
						/* Below mode parameter not used for econ UYVY camera sensor */ 
						line_length = "3840";
						inherent_gain = "1";
						mclk_multiplier = "6.67";

						min_gain_val = "0"; /* dB */
						max_gain_val = "48"; /* dB */
						min_hdr_ratio = "1";
						max_hdr_ratio = "1";
						min_framerate = "1.5";
						max_framerate = "30";
						min_exp_time = "30";
						max_exp_time = "660000";
					};
					ports {
						#address-cells = <1>;
						#size-cells = <0>;
						port@0 {
							reg = <0>;
							ecam_ar0330_out4: endpoint {
								vc-id = <0>;		 
								port-index = <2>;
								bus-width = <4>;
								remote-endpoint = <&ecam_csi_in4>;
							};
						};
					};
				};

               ar0330_f@44 {
                        status = "okay";
                        compatible = "nvidia,ar0330";
                        reg = <0x44>;
                        sensor_model ="ar0330";
                        avdd-reg = "vana";
                        iovdd-reg = "vif";
						clocks = <&bpmp_clks  TEGRA194_CLK_EXTPERIPH1>,
				 		<&bpmp_clks TEGRA194_CLK_PLLP_OUT0>;
                        clock-names = "extperiph1", "pllp_grtba";
                        mclk = "extperiph1";
                        clock-frequency = <24000000>;
						vana-supply = <&p2822_avdd_cam_2v8>;
						vif-supply = <&p2822_vdd_1v8_cvb>;
						use_sensor_mode_id = "false";
						camera_mipi_lanes = <2>;	

					/* Parameter to enable i2c translation */
					phy-id = "B";						
					mode0 {     //MODE_640X480
     					mclk_khz = "24000";
     					num_lanes = "2";
     					tegra_sinterface = "serial_b";
     					phy_mode = "DPHY";
     					discontinuous_clk = "no";
     					dpcm_enable = "false";
     					cil_settletime = "0";
     					dynamic_pixel_bit_depth = "16";
     					csi_pixel_bit_depth = "16";
     					mode_type = "yuv";
     					pixel_phase = "uyvy";
     					pixel_t = "uyvy";
     
     					active_w = "640";
     					active_h = "480";
     					readout_orientation = "0";
     					pix_clk_hz = "1152000000";
     					deskew_initial_enable = "false";
     					/* Below mode parameter not used in for econ UYVY camera sensor */ 
     					line_length = "3840";
     					inherent_gain = "1";
     					mclk_multiplier = "6.67";
     
     					min_gain_val = "0"; /* dB */
     					max_gain_val = "48"; /* dB */
     					min_hdr_ratio = "1";
     					max_hdr_ratio = "1";
     					min_framerate = "1.5";
     					max_framerate = "30";
     					min_exp_time = "30";
     					max_exp_time = "660000";
				    };
				mode1 {     //MODE_1280X720
					mclk_khz = "24000";
					num_lanes = "2";
					tegra_sinterface = "serial_b";
					phy_mode = "DPHY";
					discontinuous_clk = "no";
					dpcm_enable = "false";
					cil_settletime = "0";
					dynamic_pixel_bit_depth = "16";
					csi_pixel_bit_depth = "16";
					mode_type = "yuv";
					pixel_phase = "uyvy";
					pixel_t = "uyvy";

					active_w = "1280";
					active_h = "720";
					readout_orientation = "0";
					pix_clk_hz = "1152000000";
					deskew_initial_enable = "false";
					/* Below mode parameter not used in for econ UYVY camera sensor */ 
					line_length = "3840";
					inherent_gain = "1";
					mclk_multiplier = "6.67";

					min_gain_val = "0"; /* dB */
					max_gain_val = "48"; /* dB */
					min_hdr_ratio = "1";
					max_hdr_ratio = "1";
					min_framerate = "1.5";
					max_framerate = "30";
					min_exp_time = "30";
					max_exp_time = "660000";
				};
				mode2 {     //MODE_1920X1080
					mclk_khz = "24000";
					num_lanes = "2";
					tegra_sinterface = "serial_b";
					phy_mode = "DPHY";
					discontinuous_clk = "no";
					dpcm_enable = "false";
					cil_settletime = "0";
					dynamic_pixel_bit_depth = "16";
					csi_pixel_bit_depth = "16";
					mode_type = "yuv";
					pixel_phase = "uyvy";
					pixel_t = "uyvy";

					active_w = "1920";
					active_h = "1080";
					readout_orientation = "0";
					pix_clk_hz = "1152000000";
					deskew_initial_enable = "false";
					/* Below mode parameter not used in for econ UYVY camera sensor */ 
					line_length = "3840";
					inherent_gain = "1";
					mclk_multiplier = "6.67";

					min_gain_val = "0"; /* dB */
					max_gain_val = "48"; /* dB */
					min_hdr_ratio = "1";
					max_hdr_ratio = "1";
					min_framerate = "1.5";
					max_framerate = "30";
					min_exp_time = "30";
					max_exp_time = "660000";
				};
				mode3 {     //MODE_2304X1296
					mclk_khz = "24000";
					num_lanes = "2";
					tegra_sinterface = "serial_b";
					phy_mode = "DPHY";
					discontinuous_clk = "no";
					dpcm_enable = "false";
					cil_settletime = "0";
					dynamic_pixel_bit_depth = "16";
					csi_pixel_bit_depth = "16";
					mode_type = "yuv";
					pixel_phase = "uyvy";
					pixel_t = "uyvy";

					active_w = "2304";
					active_h = "1296";
					readout_orientation = "0";
					pix_clk_hz = "1152000000";
					deskew_initial_enable = "false";
					/* Below mode parameter not used in for econ UYVY camera sensor */ 
					line_length = "3840";
					inherent_gain = "1";
					mclk_multiplier = "6.67";

					min_gain_val = "0"; /* dB */
					max_gain_val = "48"; /* dB */
					min_hdr_ratio = "1";
					max_hdr_ratio = "1";
					min_framerate = "1.5";
					max_framerate = "30";
					min_exp_time = "30";
					max_exp_time = "660000";
				};
				mode4 {     //MODE_2304X1536
					mclk_khz = "24000";
					num_lanes = "2";
					tegra_sinterface = "serial_b";
					phy_mode = "DPHY";
					discontinuous_clk = "no";
					dpcm_enable = "false";
					cil_settletime = "0";
					dynamic_pixel_bit_depth = "16";
					csi_pixel_bit_depth = "16";
					mode_type = "yuv";
					pixel_phase = "uyvy";
					pixel_t = "uyvy";

					active_w = "2304";
					active_h = "1536";
					pix_clk_hz = "1152000000";
                                                readout_orientation = "0";
					deskew_initial_enable = "false";
					/* Below mode parameter not used in for econ UYVY camera sensor */ 
					line_length = "3840";
					inherent_gain = "1";
					mclk_multiplier = "6.67";

					min_gain_val = "0"; /* dB */
					max_gain_val = "48"; /* dB */
					min_hdr_ratio = "1";
					max_hdr_ratio = "1";
					min_framerate = "1.5";
					max_framerate = "30";
					min_exp_time = "30";
					max_exp_time = "660000";
				};

               		ports {
   	    	               #address-cells = <1>;
    	                   #size-cells = <0>;
            	           port@0 {
                               reg = <0>;
                               ecam_ar0330_out5: endpoint {
							   vc-id = <1>;		 
                                       port-index = <2>;
                                       bus-width = <4>;
                                       remote-endpoint = <&ecam_csi_in5>;
                               };
                    	   };
              		 	};
       				};				

       };

		i2c@3{
              status = "okay";
              reg = <3>;
              i2c-mux,deselect-on-exit;
              #address-cells = <1>;
              #size-cells = <0>;
				ar0330_g@43 {
					status = "okay";
					compatible = "nvidia,ar0330";
					reg = <0x43>;
					sensor_model ="ar0330";
					avdd-reg = "vana";
					iovdd-reg = "vif";
					clocks = <&bpmp_clks  TEGRA194_CLK_EXTPERIPH1>,
							 <&bpmp_clks TEGRA194_CLK_PLLP_OUT0>;
					clock-names = "extperiph1", "pllp_grtba";
					mclk = "extperiph1";
					clock-frequency = <24000000>;
					/* This GPIO needs to be toggled only once for the entire setup */
					poc-gpio = <&tegra_main_gpio CAM0_PWDN GPIO_ACTIVE_HIGH>;
					vana-supply = <&p2822_avdd_cam_2v8>;
					vif-supply = <&p2822_vdd_1v8_cvb>;
					use_sensor_mode_id = "false";
					camera_mipi_lanes = <2>;	

					/* Parameter to denote PHY layer */
					phy-id = "A";					
					mode0 {		// MODE_640X480
						mclk_khz = "24000";
						num_lanes = "2";
						tegra_sinterface = "serial_a";
						phy_mode = "DPHY";
						discontinuous_clk = "no";
						dpcm_enable = "false";
						cil_settletime = "0";
						dynamic_pixel_bit_depth = "16";
						csi_pixel_bit_depth = "16";
						mode_type = "yuv";
						pixel_phase = "uyvy";
						pixel_t = "uyvy";

						active_w = "1280";
						active_h = "720";
						readout_orientation = "0";
						deskew_initial_enable = "false";
						pix_clk_hz = "1152000000";
						/* Below mode parameter not used for econ UYVY camera sensor */ 
						line_length = "3840";
						inherent_gain = "1";
						mclk_multiplier = "6.67";

						min_gain_val = "0"; /* dB */
						max_gain_val = "48"; /* dB */
						min_hdr_ratio = "1";
						max_hdr_ratio = "1";
						min_framerate = "1.5";
						max_framerate = "30";
						min_exp_time = "30";
						max_exp_time = "660000";
					};
					mode1 {		// MODE_1280X720
						mclk_khz = "24000";
						num_lanes = "2";
						tegra_sinterface = "serial_a";
						phy_mode = "DPHY";
						discontinuous_clk = "no";
						dpcm_enable = "false";
						cil_settletime = "0";
						dynamic_pixel_bit_depth = "16";
						csi_pixel_bit_depth = "16";
						mode_type = "yuv";
						pixel_phase = "uyvy";
						pixel_t = "uyvy";

						active_w = "1280";
						active_h = "720";
						readout_orientation = "0";
						deskew_initial_enable = "false";
						pix_clk_hz = "1152000000";
						/* Below mode parameter not used for econ UYVY camera sensor */ 
						line_length = "3840";
						inherent_gain = "1";
						mclk_multiplier = "6.67";

						min_gain_val = "0"; /* dB */
						max_gain_val = "48"; /* dB */
						min_hdr_ratio = "1";
						max_hdr_ratio = "1";
						min_framerate = "1.5";
						max_framerate = "30";
						min_exp_time = "30";
						max_exp_time = "660000";
					};
					mode2 {		// MODE_1920X1080
						mclk_khz = "24000";
						num_lanes = "2";
						tegra_sinterface = "serial_a";
						phy_mode = "DPHY";
						discontinuous_clk = "no";
						dpcm_enable = "false";
						cil_settletime = "0";
						dynamic_pixel_bit_depth = "16";
						csi_pixel_bit_depth = "16";
						mode_type = "yuv";
						pixel_phase = "uyvy";
						pixel_t = "uyvy";

						active_w = "1920";
						active_h = "1080";
						readout_orientation = "0";
						deskew_initial_enable = "false";
						pix_clk_hz = "1152000000";
						/* Below mode parameter not used for econ UYVY camera sensor */ 
						line_length = "3840";
						inherent_gain = "1";
						mclk_multiplier = "6.67";

						min_gain_val = "0"; /* dB */
						max_gain_val = "48"; /* dB */
						min_hdr_ratio = "1";
						max_hdr_ratio = "1";
						min_framerate = "1.5";
						max_framerate = "30";
						min_exp_time = "30";
						max_exp_time = "660000";
					};
					mode3 {		// MODE_2304X1296
						mclk_khz = "24000";
						num_lanes = "2";
						tegra_sinterface = "serial_a";
						phy_mode = "DPHY";
						discontinuous_clk = "no";
						dpcm_enable = "false";
						cil_settletime = "0";
						dynamic_pixel_bit_depth = "16";
						csi_pixel_bit_depth = "16";
						mode_type = "yuv";
						pixel_phase = "uyvy";
						pixel_t = "uyvy";

						active_w = "2304";
						active_h = "1296";
						readout_orientation = "0";
						deskew_initial_enable = "false";
						pix_clk_hz = "1152000000";
						/* Below mode parameter not used for econ UYVY camera sensor */ 
						line_length = "3840";
						inherent_gain = "1";
						mclk_multiplier = "6.67";

						min_gain_val = "0"; /* dB */
						max_gain_val = "48"; /* dB */
						min_hdr_ratio = "1";
						max_hdr_ratio = "1";
						min_framerate = "1.5";
						max_framerate = "30";
						min_exp_time = "30";
						max_exp_time = "660000";
					};
					mode4 {		// MODE_2304X1536
						mclk_khz = "24000";
						num_lanes = "2";
						tegra_sinterface = "serial_a";
						phy_mode = "DPHY";
						discontinuous_clk = "no";
						dpcm_enable = "false";
						cil_settletime = "0";
						dynamic_pixel_bit_depth = "16";
						csi_pixel_bit_depth = "16";
						mode_type = "yuv";
						pixel_phase = "uyvy";
						pixel_t = "uyvy";

						active_w = "2304";
						active_h = "1536";
						readout_orientation = "0";
						deskew_initial_enable = "false";
						pix_clk_hz = "1152000000";
						/* Below mode parameter not used for econ UYVY camera sensor */ 
						line_length = "3840";
						inherent_gain = "1";
						mclk_multiplier = "6.67";

						min_gain_val = "0"; /* dB */
						max_gain_val = "48"; /* dB */
						min_hdr_ratio = "1";
						max_hdr_ratio = "1";
						min_framerate = "1.5";
						max_framerate = "30";
						min_exp_time = "30";
						max_exp_time = "660000";
					};
					ports {
						#address-cells = <1>;
						#size-cells = <0>;
						port@0 {
							reg = <0>;
							ecam_ar0330_out6: endpoint {
								vc-id = <0>;		 
								port-index = <0>;
								bus-width = <4>;
								remote-endpoint = <&ecam_csi_in6>;
							};
						};
					};
				};

               ar0330_h@44 {
                        status = "okay";
                        compatible = "nvidia,ar0330";
                        reg = <0x44>;
                        sensor_model ="ar0330";
                        avdd-reg = "vana";
                        iovdd-reg = "vif";
						clocks = <&bpmp_clks  TEGRA194_CLK_EXTPERIPH1>,
				 		<&bpmp_clks TEGRA194_CLK_PLLP_OUT0>;
                        clock-names = "extperiph1", "pllp_grtba";
                        mclk = "extperiph1";
                        clock-frequency = <24000000>;
						vana-supply = <&p2822_avdd_cam_2v8>;
						vif-supply = <&p2822_vdd_1v8_cvb>;
						use_sensor_mode_id = "false";
						camera_mipi_lanes = <2>;	

					/* Parameter to enable i2c translation */
					phy-id = "B";						
					mode0 {     //MODE_640X480
     					mclk_khz = "24000";
     					num_lanes = "2";
     					tegra_sinterface = "serial_b";
     					phy_mode = "DPHY";
     					discontinuous_clk = "no";
     					dpcm_enable = "false";
     					cil_settletime = "0";
     					dynamic_pixel_bit_depth = "16";
     					csi_pixel_bit_depth = "16";
     					mode_type = "yuv";
     					pixel_phase = "uyvy";
     					pixel_t = "uyvy";
     
     					active_w = "640";
     					active_h = "480";
     					readout_orientation = "0";
     					pix_clk_hz = "1152000000";
     					deskew_initial_enable = "false";
     					/* Below mode parameter not used in for econ UYVY camera sensor */ 
     					line_length = "3840";
     					inherent_gain = "1";
     					mclk_multiplier = "6.67";
     
     					min_gain_val = "0"; /* dB */
     					max_gain_val = "48"; /* dB */
     					min_hdr_ratio = "1";
     					max_hdr_ratio = "1";
     					min_framerate = "1.5";
     					max_framerate = "30";
     					min_exp_time = "30";
     					max_exp_time = "660000";
				    };
				mode1 {     //MODE_1280X720
					mclk_khz = "24000";
					num_lanes = "2";
					tegra_sinterface = "serial_b";
					phy_mode = "DPHY";
					discontinuous_clk = "no";
					dpcm_enable = "false";
					cil_settletime = "0";
					dynamic_pixel_bit_depth = "16";
					csi_pixel_bit_depth = "16";
					mode_type = "yuv";
					pixel_phase = "uyvy";
					pixel_t = "uyvy";

					active_w = "1280";
					active_h = "720";
					readout_orientation = "0";
					pix_clk_hz = "1152000000";
					deskew_initial_enable = "false";
					/* Below mode parameter not used in for econ UYVY camera sensor */ 
					line_length = "3840";
					inherent_gain = "1";
					mclk_multiplier = "6.67";

					min_gain_val = "0"; /* dB */
					max_gain_val = "48"; /* dB */
					min_hdr_ratio = "1";
					max_hdr_ratio = "1";
					min_framerate = "1.5";
					max_framerate = "30";
					min_exp_time = "30";
					max_exp_time = "660000";
				};
				mode2 {     //MODE_1920X1080
					mclk_khz = "24000";
					num_lanes = "2";
					tegra_sinterface = "serial_b";
					phy_mode = "DPHY";
					discontinuous_clk = "no";
					dpcm_enable = "false";
					cil_settletime = "0";
					dynamic_pixel_bit_depth = "16";
					csi_pixel_bit_depth = "16";
					mode_type = "yuv";
					pixel_phase = "uyvy";
					pixel_t = "uyvy";

					active_w = "1920";
					active_h = "1080";
					readout_orientation = "0";
					pix_clk_hz = "1152000000";
					deskew_initial_enable = "false";
					/* Below mode parameter not used in for econ UYVY camera sensor */ 
					line_length = "3840";
					inherent_gain = "1";
					mclk_multiplier = "6.67";

					min_gain_val = "0"; /* dB */
					max_gain_val = "48"; /* dB */
					min_hdr_ratio = "1";
					max_hdr_ratio = "1";
					min_framerate = "1.5";
					max_framerate = "30";
					min_exp_time = "30";
					max_exp_time = "660000";
				};
				mode3 {     //MODE_2304X1296
					mclk_khz = "24000";
					num_lanes = "2";
					tegra_sinterface = "serial_b";
					phy_mode = "DPHY";
					discontinuous_clk = "no";
					dpcm_enable = "false";
					cil_settletime = "0";
					dynamic_pixel_bit_depth = "16";
					csi_pixel_bit_depth = "16";
					mode_type = "yuv";
					pixel_phase = "uyvy";
					pixel_t = "uyvy";

					active_w = "2304";
					active_h = "1296";
					readout_orientation = "0";
					pix_clk_hz = "1152000000";
					deskew_initial_enable = "false";
					/* Below mode parameter not used in for econ UYVY camera sensor */ 
					line_length = "3840";
					inherent_gain = "1";
					mclk_multiplier = "6.67";

					min_gain_val = "0"; /* dB */
					max_gain_val = "48"; /* dB */
					min_hdr_ratio = "1";
					max_hdr_ratio = "1";
					min_framerate = "1.5";
					max_framerate = "30";
					min_exp_time = "30";
					max_exp_time = "660000";
				};
				mode4 {     //MODE_2304X1536
					mclk_khz = "24000";
					num_lanes = "2";
					tegra_sinterface = "serial_b";
					phy_mode = "DPHY";
					discontinuous_clk = "no";
					dpcm_enable = "false";
					cil_settletime = "0";
					dynamic_pixel_bit_depth = "16";
					csi_pixel_bit_depth = "16";
					mode_type = "yuv";
					pixel_phase = "uyvy";
					pixel_t = "uyvy";

					active_w = "2304";
					active_h = "1536";
					pix_clk_hz = "1152000000";
                                                readout_orientation = "0";
					deskew_initial_enable = "false";
					/* Below mode parameter not used in for econ UYVY camera sensor */ 
					line_length = "3840";
					inherent_gain = "1";
					mclk_multiplier = "6.67";

					min_gain_val = "0"; /* dB */
					max_gain_val = "48"; /* dB */
					min_hdr_ratio = "1";
					max_hdr_ratio = "1";
					min_framerate = "1.5";
					max_framerate = "30";
					min_exp_time = "30";
					max_exp_time = "660000";
				};

               		ports {
   	    	               #address-cells = <1>;
    	                   #size-cells = <0>;
            	           port@0 {
                               reg = <0>;
                               ecam_ar0330_out7: endpoint {
							   vc-id = <1>;		 
                                       port-index = <0>;
                                       bus-width = <4>;
                                       remote-endpoint = <&ecam_csi_in7>;
                               };
                    	   };
              		 	};
       				};				
         	};
		};	
	};

		tegra-camera-platform {
			compatible = "nvidia, tegra-camera-platform";
			/**
			* Physical settings to calculate max ISO BW
			*
			* num_csi_lanes = <>;
			* Total number of CSI lanes when all cameras are active
			*
			* max_lane_speed = <>;
			* Max lane speed in Kbit/s
			*
			* min_bits_per_pixel = <>;
			* Min bits per pixel
			*
			* vi_peak_byte_per_pixel = <>;
			* Max byte per pixel for the VI ISO case
			*
			* vi_bw_margin_pct = <>;
			* Vi bandwidth margin in percentage
			*
			*/
			num_csi_lanes = <16>;
			max_lane_speed = <2500000>;
			min_bits_per_pixel = <16>;
			vi_peak_byte_per_pixel = <2>;
			vi_bw_margin_pct = <67>;
			//max_pixel_rate = <750000>;

			modules {
				module0 {
					badge = "NileCAM30_TX2-1";
					possition = "rear1";
					orientation = "1";
					drivernode0 {
						pcl_id = "v4l2_sensor";
						devname = "NileCAM30_TX2-1 ";
						proc-device-tree = "/proc/device-tree/i2c@c250000/tca9544@72/i2c@0/ar0330_a@43";
						status = "okay";
					};
				};
				module1 {
					badge = "NileCAM30_TX2-2";
					position = "rear2";
					orientation = "1";
					drivernode0 {
						pcl_id = "v4l2_sensor";
						devname = "NileCAM30_TX2-2 ";
						proc-device-tree = "/proc/device-tree/i2c@c250000/tca9544@72/i2c@0/ar0330_b@44";
						status = "okay";
					};
				};
				module2 {
					badge = "NileCAM30_TX2-3";
					position = "rear3";
					orientation = "1";
					drivernode0 {
						pcl_id = "v4l2_sensor";
						devname = "NileCAM30_TX2-3 ";
						proc-device-tree = "/proc/device-tree/i2c@c250000/tca9544@72/i2c@1/ar0330_c@43";
						status = "okay";
					};
				};
				module3 {
					badge = "NileCAM30_TX2-4";
					position = "rear4";
					orientation = "1";
					drivernode0 {
						pcl_id = "v4l2_sensor";
						devname = "NileCAM30_TX2-4 ";
						proc-device-tree = "/proc/device-tree/i2c@c250000/tca9544@72/i2c@1/ar0330_d@44";
						status = "okay";
					};
				};
				module4 {
					badge = "NileCAM30_TX2-5";
					position = "rear5";
					orientation = "1";
					drivernode0 {
						pcl_id = "v4l2_sensor";
						devname = "NileCAM30_TX2-5 ";
						proc-device-tree = "/proc/device-tree/i2c@c250000/tca9544@72/i2c@2/ar0330_e@43";
						status = "okay";
					};
				};
				module5 {
					badge = "NileCAM30_TX2-6";
					position = "rear6";
					orientation = "1";
					drivernode0 {
						pcl_id = "v4l2_sensor";
						devname = "NileCAM30_TX2-6 ";
						proc-device-tree = "/proc/device-tree/i2c@c250000/tca9544@72/i2c@2/ar0330_f@44";
						status = "okay";
					};
				};
				module6 {
					badge = "NileCAM30_TX2-7";
					position = "rear7";
					orientation = "1";
					drivernode0 {
						pcl_id = "v4l2_sensor";
						devname = "NileCAM30_TX2-7 ";
						proc-device-tree = "/proc/device-tree/i2c@c250000/tca9544@72/i2c@3/ar0330_g@43";
						status = "okay";
					};
				};
				module7 {
					badge = "NileCAM30_TX2-8";
					position = "rear8";
					orientation = "1";
					drivernode0 {
						pcl_id = "v4l2_sensor";
						devname = "NileCAM30_TX2-8 ";
						proc-device-tree = "/proc/device-tree/i2c@c250000/tca9544@72/i2c@3/ar0330_h@44";
						status = "okay";
					};
				};				
			};
		};
};

